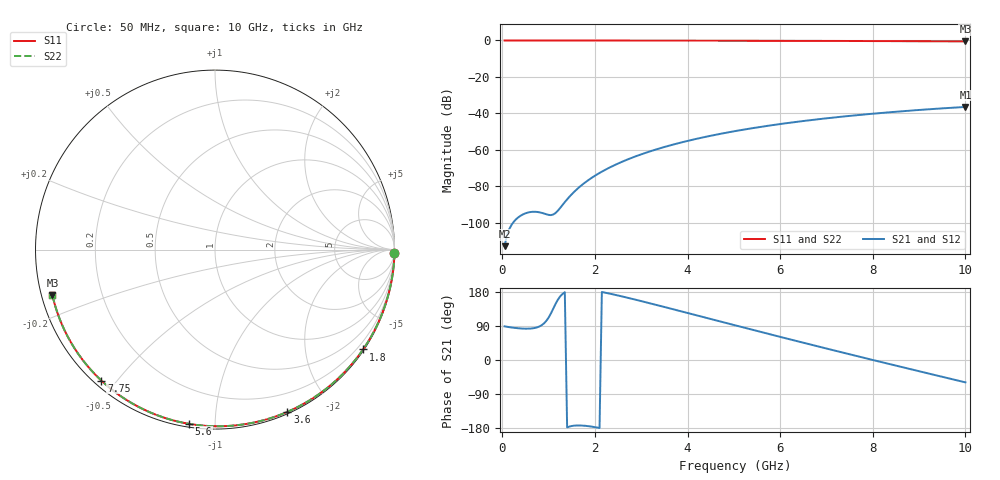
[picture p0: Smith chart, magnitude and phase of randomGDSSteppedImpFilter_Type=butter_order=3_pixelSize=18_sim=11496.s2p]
! freq	dB(S11)	phase(S11)	dB(S12)	phase(S12)
!  dB(S21)	phase(S21)	dB(S22)	phase(S22)
!S-par simulation data
#  GHz  S  DB  R 50
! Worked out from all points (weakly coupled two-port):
!   200 points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, 50 MHz to 10 GHz, reference 50 ohm
!   highest |S21| = -36.42 dB at 10 GHz (marker M1); lowest = -112.7 dB at 50 MHz (marker M2)
!   lowest |S11| = -0.5 dB at 10 GHz (marker M3), VSWR 32.70, Z = 1.56 - j6.86 ohm
!   |S11| at or under -10 dB: nowhere
!   |S22| runs from -0.5 to 0.0 dB; largest |S21 - S12| = 0
!   S11 on the Smith chart (normalised r, x): 50 MHz: open; 1.8 GHz: 0.03, -3.27; 3.6 GHz: 0.02, -1.54; 5.6 GHz: 0.02, -0.86; 7.75 GHz: 0.02, -0.46; 10 GHz: 0.03, -0.14
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0.05  -0.00 -1.0  -112.69 88.8  -112.69 88.8  -0.00 -1.0
0.45  -0.01 -8.6  -95.23 82.8  -95.23 82.8  -0.01 -8.6
0.85  -0.02 -16.2  -94.43 91.8  -94.43 91.8  -0.02 -16.2
1.65  -0.04 -31.2  -80.63 -172.7  -80.63 -172.7  -0.04 -31.2
1.7  -0.04 -32.1  -79.56 -172.9  -79.56 -172.9  -0.04 -32.1
1.75  -0.04 -33.1  -78.54 -173.2  -78.54 -173.2  -0.04 -33.1
1.8  -0.04 -34.0  -77.57 -173.8  -77.57 -173.8  -0.04 -34.0
2.1  -0.05 -39.5  -72.58 -179.4  -72.58 -179.4  -0.05 -39.5
2.3  -0.05 -43.1  -69.83 175.7  -69.83 175.7  -0.05 -43.1
2.5  -0.06 -46.7  -67.41 170.2  -67.41 170.2  -0.06 -46.7
2.9  -0.07 -53.8  -63.29 158.5  -63.29 158.5  -0.07 -53.8
3.4  -0.08 -62.5  -59.10 143.0  -59.10 143.0  -0.08 -62.5
3.6  -0.09 -66.0  -57.65 136.8  -57.65 136.8  -0.09 -66.0
4.3  -0.11 -77.7  -53.29 114.6  -53.29 114.6  -0.11 -77.7
5.05  -0.14 -89.9  -49.55 90.8  -49.55 90.8  -0.14 -89.9
5.6  -0.16 -98.6  -47.26 73.5  -47.26 73.5  -0.16 -98.6
6.15  -0.19 -107.1  -45.27 56.4  -45.27 56.4  -0.19 -107.1
6.7  -0.22 -115.4  -43.52 39.4  -43.52 39.4  -0.22 -115.4
7.75  -0.30 -130.9  -40.71 7.5  -40.71 7.5  -0.30 -130.9
8.35  -0.35 -139.7  -39.36 -10.4  -39.36 -10.4  -0.35 -139.7
9.2  -0.44 -152.3  -37.71 -35.5  -37.71 -35.5  -0.44 -152.3
10  -0.53 -164.4  -36.42 -59.0  -36.42 -59.0  -0.53 -164.4
